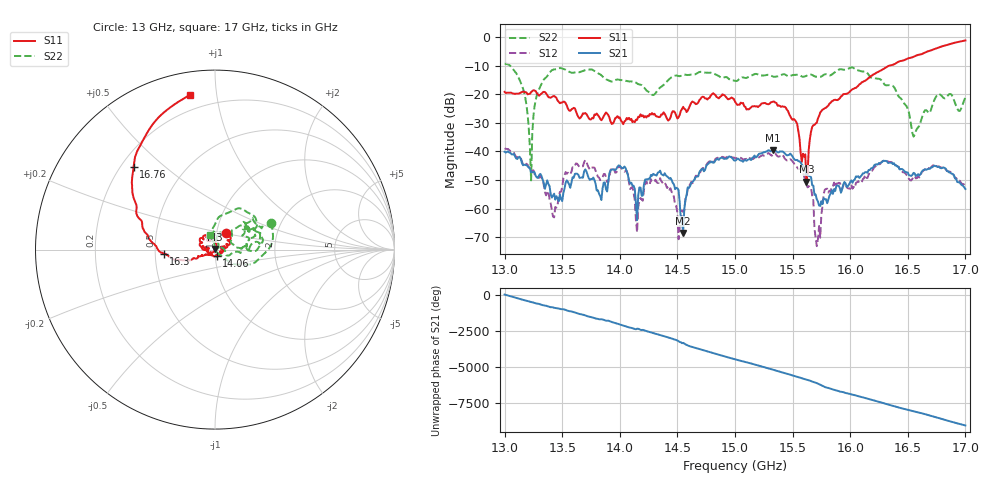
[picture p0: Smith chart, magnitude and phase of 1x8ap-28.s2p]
!Keysight Technologies,P9374A,MY57211807,A.19.30.04
!Date: Friday, May 08, 2026 15:43:07
!Correction: S11(C  2-Port  )
!S21(C  2-Port  )
!S12(C  2-Port  )
!S22(C  2-Port  )
!S2P File: Measurements: S11, S21, S12, S22:
# Hz S  dB  R 50
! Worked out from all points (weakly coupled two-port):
!   401 points, 13 GHz to 17 GHz, reference 50 ohm
!   highest |S21| = -39.51 dB at 15.33 GHz (marker M1); lowest = -68.5 dB at 14.55 GHz (marker M2)
!   lowest |S11| = -50.6 dB at 15.62 GHz (marker M3), VSWR 1.01, Z = 49.9 + j0.288 ohm
!   |S11| at or under -10 dB: start of sweep to 16.34 GHz
!   |S22| runs from -50.1 to -9.3 dB; largest |S21 - S12| = 0.0028
!   S11 on the Smith chart (normalised r, x): 13 GHz: 1.11, +0.21; 14.06 GHz: 1.01, -0.08; 16.3 GHz: 0.56, -0.03; 16.76 GHz: 0.25, +0.40; 17 GHz: 0.12, +0.84
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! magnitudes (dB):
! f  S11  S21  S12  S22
! 13 GHz  -19.2  -40.1  -38.9  -9.3
! 13.15 GHz  -19.3  -44.0  -43.4  -16.9
! 13.23 GHz  -19.2  -47.2  -46.7  -50.1
! 13.29 GHz  -20.1  -49.3  -49.1  -19.1
! 13.43 GHz  -20.6  -54.8  -63.0  -11.3
! 13.67 GHz  -27.6  -49.1  -45.2  -12.1
! 14.06 GHz  -28.3  -47.0  -46.8  -15.4
! 14.15 GHz  -28.9  -64.0  -68.2  -16.2
! 14.34 GHz  -28.0  -47.2  -50.9  -18.0
! 14.55 GHz  -24.4  -68.5  -61.1  -13.2
! 14.7 GHz  -21.7  -46.7  -47.1  -12.1
! 15 GHz  -22.6  -43.2  -42.3  -15.3
! 15.33 GHz  -22.6  -39.5  -40.9  -13.8
! 15.62 GHz  -50.6  -47.9  -51.5  -13.5
! 15.67 GHz  -31.4  -51.8  -55.3  -13.3
! 15.72 GHz  -28.4  -57.5  -70.6  -13.9
! 15.79 GHz  -24.7  -56.7  -53.1  -13.0
! 16.3 GHz  -10.9  -43.3  -43.2  -16.7
! 16.34 GHz  -10.0  -43.9  -43.7  -16.8
! 16.56 GHz  -6.7  -47.7  -48.6  -34.1
! 16.76 GHz  -3.8  -45.4  -45.4  -20.1
! 17 GHz  -1.2  -53.1  -52.1  -21.1
